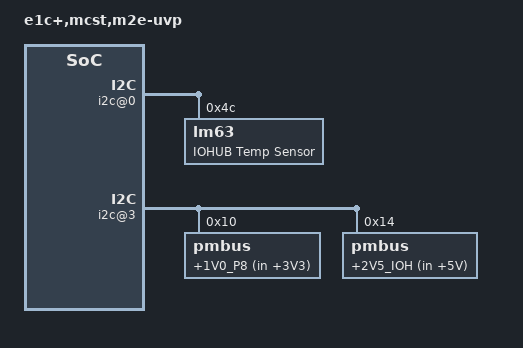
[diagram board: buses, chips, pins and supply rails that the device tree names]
/*
 * M2E-UVP
 * TVGI.469555.385 ver.1
 * (UVM_KMI)
 */
/dts-v1/;

/*#include <dt-bindings/input/input.h>*/

/ {
	/* version = ""; */
	model = "e1c+,mcst,m2e-uvp";
	compatible = "mcst,m2e-uvp";
	#address-cells = <1>;
	#size-cells = <0>;

	/* IOHUB2 I2C */
	l_i2c@0 {
		#address-cells = <1>;
		#size-cells = <0>;
		reg = <0>;
		compatible = "l_i2c";
		label = "iohub2 i2c";

		i2c@0 {
			#address-cells = <1>;
			#size-cells = <0>;
			reg = <0>;

			lm96163@4c {
				/* hwmon/lm63.ko (DD19:LM96163CISD) */
				compatible = "lm63";
				reg = <0x4c>;
				label = "IOHUB Temp Sensor";

				temp1_label = "Internal Temp";
				temp2_label = "IOHUB Temp";
				/* no fan control */
			};
		};
		i2c@1 {
			#address-cells = <1>;
			#size-cells = <0>;
			reg = <1>;

			/* pndt006@38 from M1R:i2c@1 */

			/* KSZ9896CTX@64 from PK-UVP:I2C_1 (M1R:i2c@1) */
		};
		i2c@2 {
			#address-cells = <1>;
			#size-cells = <0>;
			reg = <2>;

			/* KSZ9896CTX@64 from PK-UVP:I2C_2 (M1R:i2c@2) */
		};
		i2c@3 {
			#address-cells = <1>;
			#size-cells = <0>;
			reg = <3>;

			/* config SENSORS_PMBUS */
			pndt006@10 {
				/* hwmon/pmbus/pmbus.ko (DA7:PNDT006A0X3-SRZ) */
				compatible = "pmbus";
				reg = <0x10>;
				label = "+1V0_P8 (in +3V3)";
			};
			pndt006@14 {
				/* hwmon/pmbus/pmbus.ko (DA8:PNDT006A0X3-SRZ) */
				compatible = "pmbus";
				reg = <0x14>;
				label = "+2V5_IOH (in +5V)";
			};
		};
	};

	/* PMBUS I2C */
	pmc_i2c {
		#address-cells = <1>;
		#size-cells = <0>;
		compatible = "pmc_i2c";
		label = "pmbus i2c";

		/* config SENSORS_PMBUS */
		pndt012@10 {
			/* hwmon/pmbus/pmbus.ko (DA2:PNDT012A0X3-SRZ) */
			compatible = "pmbus";
			reg = <0x10>;
			label = "+0V9_CPU (in +3V3)";
		};
		pndt006@13 {
			/* hwmon/pmbus/pmbus.ko (DA3:PNDT006A0X3-SRZ) */
			compatible = "pmbus";
			reg = <0x13>;
			label = "+PWR_MC (in +5V)";
		};
	};

	/* IOHUB2 SPI */
	l_spi@0 {
		#address-cells = <1>;
		#size-cells = <0>;
		compatible = "l_spi";
		reg = <0>;
		label = "iohub2 spi";

		boot@0 {
			/* DD13:S25FL128SAGNFI001) */
			compatible = "mcst,boot";
			reg = <0>;
			spi-max-frequency = <25000000>;
		};
		rtc-cy14b101p@1 {
			/* (DD14:CY14B101PA-SFXI) */
			compatible = "rtc-cy14b101p";
			reg = <1>;
			spi-max-frequency = <12500000>;
		};
	};

	/* IOHUB2 GPIO */
	gpio0:l_gpio@0 {
		compatible = "mcst,gpio";
		reg = <0x0>;
		label = "L-GPIO";
		gpio-controller;
		ngpios = <32>;
		#gpio-cells = <2>;

		gpio-line-names =
			/*  0.. 3 */ "nc", "nc", "nc", "nc",
			/*  4.. 7 */ "GA0", "GA1", "nc", "nc",
			/*  8..11 */ "nc", "nc", "nc", "nc",
			/* 12..15 */ "nc", "nc", "nc", "nc",
			/* 16..19 */ "nc", "nc", "nc", "nc",
			/* 20..23 */ "nc", "nc", "nc", "nc",
			/* 24..27 */ "nc", "nc", "nc", "nc",
			/* 28..31 */ "nc", "nc", "nc", "nc";
	};
};
